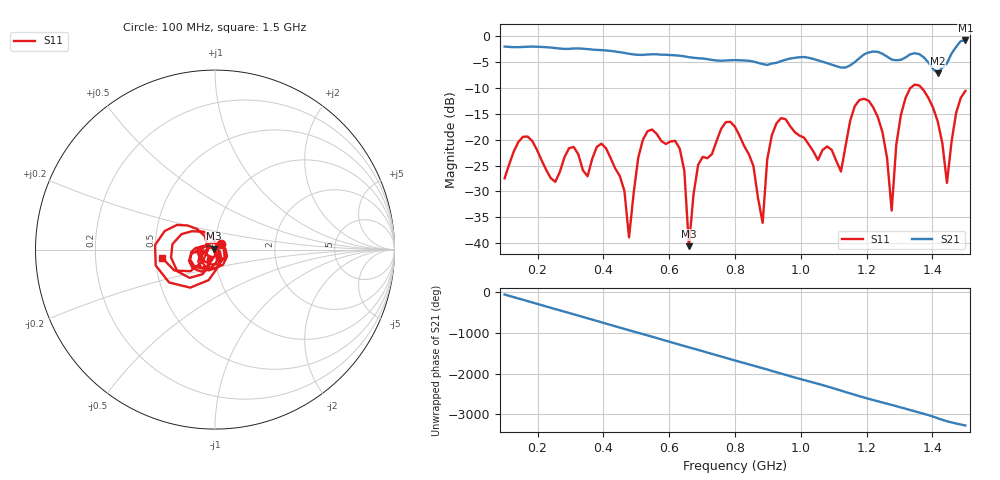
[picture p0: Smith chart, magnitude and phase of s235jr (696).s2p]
! NanoVNA-App
! Date: 2025-09-25 15:09:35
! Start: 100MHz Stop: 1,5GHz Points: 101
! S-Parameter data: F S11 S21 S12 S22
# Hz S RI R 50
!  Frequency  S11_Real  S11_Imag  S21_Real  S21_Imag  S12_Real  S12_Imag  S22_Real  S22_Imag
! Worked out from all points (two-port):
!   101 points, 100 MHz to 1.5 GHz, reference 50 ohm
!   highest |S21| = -0.79 dB at 1.5 GHz (marker M1); lowest = -7.1 dB at 1.416 GHz (marker M2)
!   |S21| within 3 dB of the highest: start of sweep to 637.8 MHz; 1.186 GHz to 1.259 GHz (72.69 MHz wide, 5.95 % of centre) (the widest 2 of 4)
!   lowest |S11| = -40.6 dB at 660 MHz (marker M3), VSWR 1.02, Z = 49.3 + j0.567 ohm
!   |S11| at or under -10 dB: start of sweep to 1.333 GHz; 1.367 GHz to end of sweep
!   S12 and S22 are empty: the file has one direction only
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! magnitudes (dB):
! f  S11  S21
! 100 MHz  -27.5  -2.0
! 156 MHz  -19.4  -2.0
! 338 MHz  -25.9  -2.4
! 408 MHz  -21.6  -2.7
! 478 MHz  -38.9  -3.4
! 520 MHz  -20.0  -3.6
! 576 MHz  -20.2  -3.5
! 632 MHz  -21.7  -3.7
! 660 MHz  -40.6  -4.0
! 688 MHz  -24.9  -4.2
! 800 MHz  -17.5  -4.6
! 884 MHz  -36.1  -5.3
! 926 MHz  -16.8  -5.1
! 1.038 GHz  -22.3  -4.4
! 1.122 GHz  -26.1  -6.0
! 1.206 GHz  -12.4  -3.1
! 1.276 GHz  -33.7  -4.5
! 1.29 GHz  -21.0  -4.6
! 1.332 GHz  -10.0  -3.5
! 1.416 GHz  -16.5  -7.1
! 1.444 GHz  -28.4  -5.2
! 1.5 GHz  -10.6  -0.8
